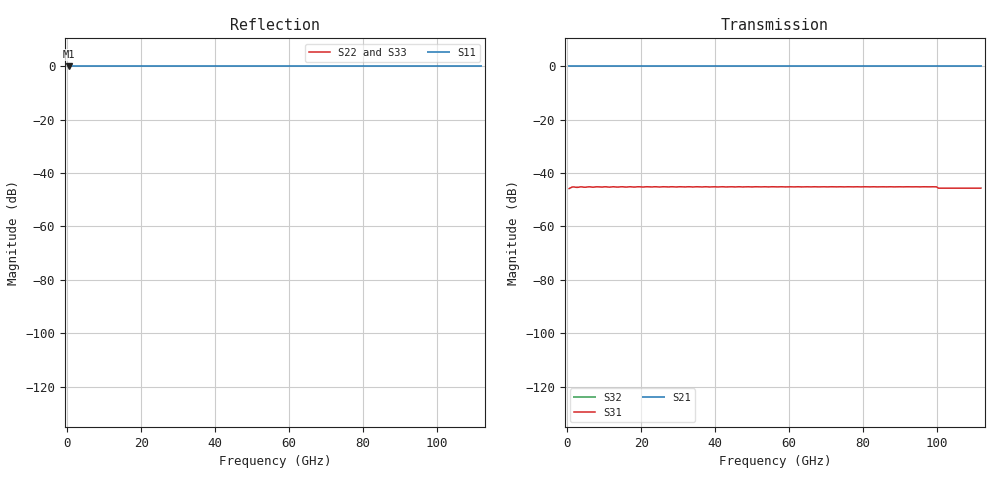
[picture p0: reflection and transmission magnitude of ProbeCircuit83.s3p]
! File created by SignalIntegrity v1.2.1: Signal and Power Integrity Tools
! https://github.com/TeledyneLeCroy/SignalIntegrity
# MHz S MA R 50.0
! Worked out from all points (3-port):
!   224 points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, 500 MHz to 112 GHz, reference 50 ohm
!   strongest paths, dB at 500 MHz, 28.5 GHz, 56.5 GHz, 84.5 GHz, 112 GHz:
!     S21: 0.0, 0.0, 0.0, 0.0, 0.0
!     S31: -45.8, -45.2, -45.2, -45.2, -45.7
!     S32: -, -, -, -, -
!   lowest |S11| = 0.0 dB at 500 MHz (marker M1)
!   |S11| at or under -10 dB: nowhere
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500  1 0.0  0 0.0  0 0.0
     1 0.0  0 0.0  0 0.0
     0.005109 1.5  0 0.0  0 0.0
1500  1 0.0  0 0.0  0 0.0
      1 0.0  0 0.0  0 0.0
      0.00549 1.8  0 0.0  0 0.0
2500  1 0.0  0 0.0  0 0.0
      1 0.0  0 0.0  0 0.0
      0.005366 0.7  0 0.0  0 0.0
3500  1 0.0  0 0.0  0 0.0
      1 0.0  0 0.0  0 0.0
      0.005491 1.2  0 0.0  0 0.0
8000  1 0.0  0 0.0  0 0.0
      1 0.0  0 0.0  0 0.0
      0.005516 0.6  0 0.0  0 0.0
56500  1 0.0  0 0.0  0 0.0
       1 0.0  0 0.0  0 0.0
       0.005484 0.0  0 0.0  0 0.0
99000  1 0.0  0 0.0  0 0.0
       1 0.0  0 0.0  0 0.0
       0.005517 0.0  0 0.0  0 0.0
100000  1 0.0  0 0.0  0 0.0
        1 0.0  0 0.0  0 0.0
        0.005496 0.1  0 0.0  0 0.0
100500  1 0.0  0 0.0  0 0.0
        1 0.0  0 0.0  0 0.0
        0.005195 0.0  0 0.0  0 0.0
112000  1 0.0  0 0.0  0 0.0
        1 0.0  0 0.0  0 0.0
        0.005195 0.0  0 0.0  0 0.0
